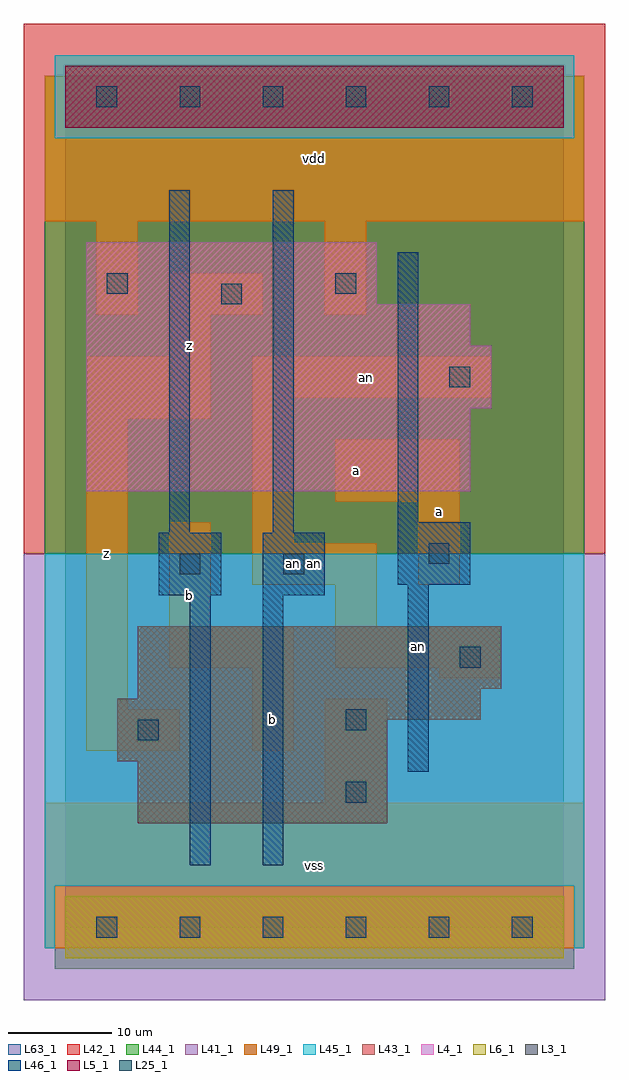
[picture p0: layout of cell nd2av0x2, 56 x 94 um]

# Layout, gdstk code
import gdstk
lib = gdstk.Library(unit=1e-6, precision=1e-09)
def R(c, l, rs):  # rectangles x0, y0, x1, y1
    for r in rs: c.add(gdstk.rectangle(r[:2], r[2:], *l))
def A(c, l, x, y, w, h, nx, ny, dx, dy):  # array of equal rectangles
    R(c, l, [(x+i*dx, y+j*dy, x+i*dx+w, y+j*dy+h) for i in range(nx) for j in range(ny)])
L3_1 = (3, 1)
L4_1 = (4, 1)
L5_1 = (5, 1)
L6_1 = (6, 1)
L25_1 = (25, 1)
L41_1 = (41, 1)
L42_1 = (42, 1)
L43_1 = (43, 1)
L44_1 = (44, 1)
L45_1 = (45, 1)
L46_1 = (46, 1)
L49_1 = (49, 1)
L63_1 = (63, 1)

nd2av0x2 = lib.new_cell('nd2av0x2')
R(nd2av0x2, L3_1, [(7,10,31,16), (5,16,31,20), (5,20,40,22), (7,22,40,23), (7,23,42,29)])
R(nd2av0x2, L4_1, [(2,42,39,50), (2,50,41,56), (2,56,39,60), (2,60,30,66)])
R(nd2av0x2, L5_1, [(0,77,48,83)])
R(nd2av0x2, L6_1, [(0,-3,48,3), (0,-3,48,3)])
A(nd2av0x2, L25_1, 3, -1, 2, 2, 6, 2, 8, 80)
R(nd2av0x2, L25_1, [(27,12,29,14), (7,18,9,20), (27,19,29,21), (38,25,40,27), (11,34,13,36), (21,34,23,36), (35,35,37,37), (37,52,39,54), (15,60,17,62), (4,61,6,63), (26,61,28,63)])
R(nd2av0x2, L41_1, [(-4,-7,52,36)])
R(nd2av0x2, L42_1, [(-4,36,52,87)])
R(nd2av0x2, L43_1, [(0,-3,48,3), (7,10,31,16), (5,16,31,20), (5,20,40,22), (7,22,40,23), (7,23,42,29), (2,42,39,50), (2,50,41,56), (2,56,39,60), (2,60,30,66), (0,77,48,83)])
R(nd2av0x2, L44_1, [(-1,-4,49,4), (-2,36,50,76), (-2,76,-1,82), (49,76,50,82)])
R(nd2av0x2, L45_1, [(-2,-2,-1,4), (49,-2,50,4), (-2,4,50,36), (-1,76,49,84)])
R(nd2av0x2, L46_1, [(12,6,14,32), (19,6,21,32), (33,15,35,33), (9,32,15,38), (19,32,25,38), (32,33,39,39), (10,38,12,71), (20,38,22,71), (32,39,34,65)])
R(nd2av0x2, L49_1, [(-2,-2,50,12), (25,12,31,22), (2,17,11,21), (18,17,22,25), (2,21,6,49), (36,24,42,25), (10,25,22,29), (26,25,42,29), (10,29,14,39), (26,29,30,33), (18,33,30,37), (34,33,38,41), (18,37,22,51), (26,41,38,47), (2,49,14,55), (18,51,41,55), (10,55,14,59), (3,59,7,68), (10,59,19,63), (25,59,29,68), (-2,68,50,82)])
R(nd2av0x2, L63_1, [(0,0,48,80)])
nd2av0x2.add(gdstk.Label('an', (22,35), layer=49, texttype=1))
nd2av0x2.add(gdstk.Label('z', (4,36), layer=49, texttype=1))
nd2av0x2.add(gdstk.Label('b', (20,20), layer=49, texttype=1))
nd2av0x2.add(gdstk.Label('b', (12,32), layer=49, texttype=1))
nd2av0x2.add(gdstk.Label('z', (12,56), layer=49, texttype=1))
nd2av0x2.add(gdstk.Label('vss', (24,6), layer=49, texttype=1))
nd2av0x2.add(gdstk.Label('an', (24,35), layer=49, texttype=1))
nd2av0x2.add(gdstk.Label('a', (28,44), layer=49, texttype=1))
nd2av0x2.add(gdstk.Label('vdd', (24,74), layer=49, texttype=1))
nd2av0x2.add(gdstk.Label('an', (34,27), layer=49, texttype=1))
nd2av0x2.add(gdstk.Label('a', (36,40), layer=49, texttype=1))
nd2av0x2.add(gdstk.Label('an', (29,53), layer=49, texttype=1))

lib.write_gds('nd2av0x2.gds')
